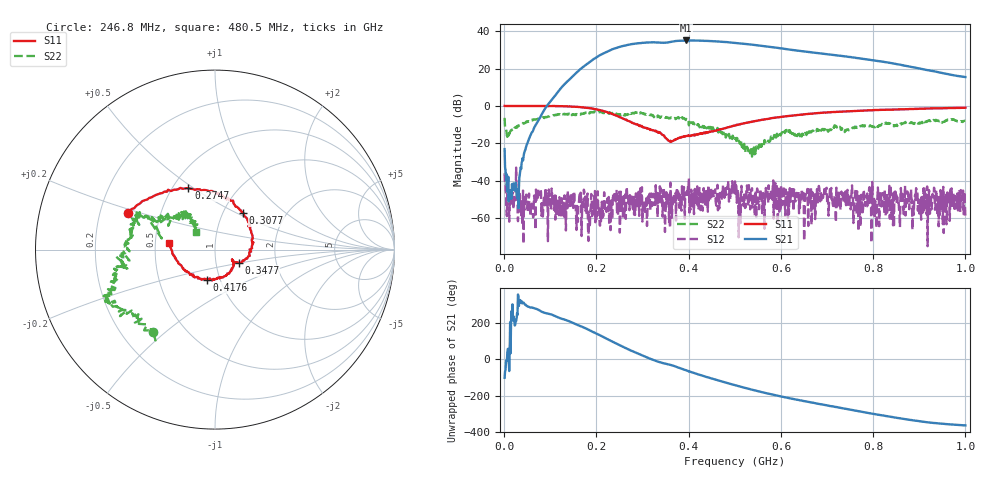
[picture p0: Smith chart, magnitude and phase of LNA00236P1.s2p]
! Created with skrf 1.9.0 (http://scikit-rf.org).
# Hz S RI R 50.0
!freq ReS11 ImS11 ReS21 ImS21 ReS12 ImS12 ReS22 ImS22
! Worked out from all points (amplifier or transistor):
!   1001 points, 1 MHz to 1 GHz, reference 50 ohm
!   highest |S21| = 35.1 dB at 394.6 MHz (marker M1)
!   |S21| within 3 dB of that: 256.7 MHz to 562.9 MHz (306.1 MHz wide, 74.7 % of centre)
!   unconditionally stable (mu >= 1): 4.561 MHz to 86.8 MHz; 203.3 MHz to 243.7 MHz; 243.8 MHz to end of sweep (the widest 3 of 27)
!   at 166.8 MHz: K = 0.82, MSG = 34.8 dB, |S12| = -49.5 dB
!   at 500.5 MHz: K = 1.21, MAG = 34.3 dB, |S12| = -40.4 dB
!   at 1 GHz: K = 13.58, MAG = 23.3 dB, |S12| = -59.8 dB
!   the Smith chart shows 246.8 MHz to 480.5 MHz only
!   S11 on the Smith chart (normalised r, x): 246.8 MHz: 0.32, +0.18; 274.7 MHz: 0.60, +0.48; 307.7 MHz: 1.24, +0.55; 347.7 MHz: 1.29, -0.19; 417.6 MHz: 0.87, -0.30; 480.5 MHz: 0.59, +0.05
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1000000  1.005 0.00504  -0.0142 -0.0686  -0.00698 0.0142  0.3232 0.3553
1.08892e8  0.505 -0.8528  -0.8363 -1.59  -0.00147 -0.000739  0.4239 -0.365
1.67833e8  -0.2598 -0.8865  -10.28 -0.4474  0.000235 0.000232  0.0397 -0.6227
2.1079e8  -0.6783 -0.3353  -15.44 18.32  -0.00102 -0.000512  -0.2187 -0.6452
2.27773e8  -0.6519 -0.0472  -9.092 28.82  0.000499 0.000448  -0.2572 -0.5675
2.46754e8  -0.4848 0.2064  4.04 36.9  -0.0011 -0.000299  -0.3446 -0.4617
2.74726e8  -0.1486 0.342  28.94 34.11  -0.00179 0.00167  -0.5112 -0.3362
3.07693e8  0.1568 0.2053  48.4 11.79  -0.000449 0.00275  -0.5564 -0.1776
3.34666e8  0.2014 -0.0107  48.62 -11.1  -0.00322 0.00194  -0.5119 -0.0332
3.47653e8  0.1338 -0.0734  45.56 -18.37  -0.00124 0.00377  -0.5023 0.0138
3.7063e8  0.1011 -0.0695  42.89 -33.52  0.00255 0.001  -0.4436 0.17
3.94606e8  0.065 -0.1426  28.18 -49.1  -0.00251 0.00331  -0.414 0.1777
4.17583e8  -0.0454 -0.168  9.798 -55.13  0.00402 0.00339  -0.2438 0.174
4.45555e8  -0.1661 -0.1135  -11.4 -53.33  0.00279 0.00311  -0.1737 0.1914
4.8052e8  -0.2539 0.0361  -31.78 -40.44  0.00478 -0.00164  -0.1057 0.0954
5.005e8  -0.259 0.1486  -38.94 -29.58  0.00719 -0.00634  -0.1127 0.0682
5.38462e8  -0.1897 0.3313  -42.71 -8.925  -0.0012 -0.0015  -0.0524 -0.0105
5.84416e8  0.00591 0.4777  -35.71 10.25  0.000953 -0.000178  -0.1385 -0.0437
6.67333e8  0.3934 0.4842  -13.89 23.11  -0.0013 -0.000281  -0.2124 -0.0145
7.55245e8  0.6779 0.2691  3.579 19.58  -0.00163 -0.00313  -0.2597 0.0334
8.34166e8  0.7933 0.0159  10.33 10  0.000438 -0.0033  -0.3305 0.00683
1e9  0.7257 -0.5223  5.918 -0.5757  -0.000568 0.000845  -0.2859 0.2793
